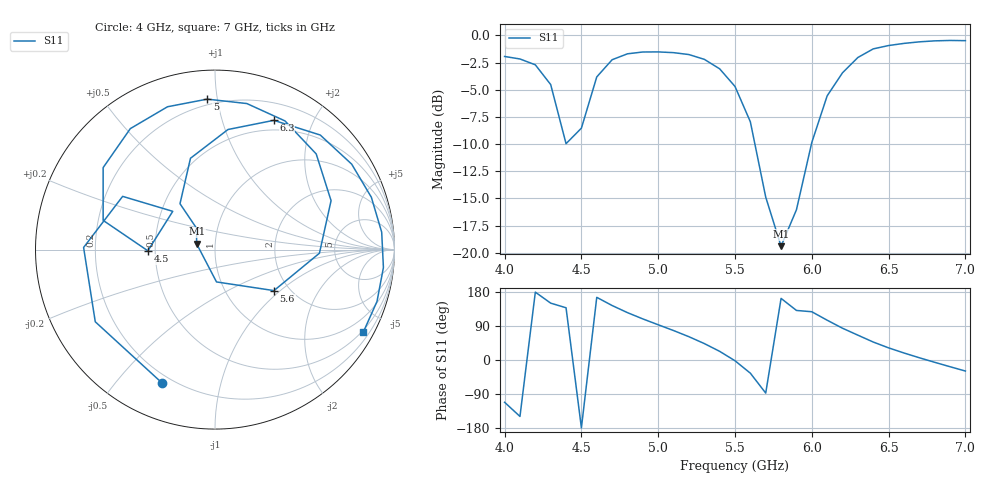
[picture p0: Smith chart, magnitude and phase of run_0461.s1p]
! Touchstone file exported from HFSS 2024.2.0
!  File:  C:/Users/wsak9/Desktop/Sim Fast/Widenad Patch/WP_AI_V1_sweep.aedt
!  Generated:  11:07:39 AM Oct 14, 2026
!  Design:  A1_model
!  Project:  WP_AI_V1_sweep
!  Setup:  Setup1
!  Solution:  Sweep
! Variables:
!  Air_gap = 1.81mm
!  Curve_Amp1 = 3.55
!  Curve_len1 = 1
!  Curve_pos = 12.28mm
!  Extra = 1.26mm
!  H_sub = 0.79mm
!  L_Patch = 20.56mm
!  L_Patch1 = 17.37mm
!  Sx = 2.42mm
!  Sy = 1.78mm
!  WS = 0.77mm
!  W_Patch = 16.16mm
!  W_Patch1 = 16.11mm
!Data is not renormalized
# GHz S MA
! Terminal data exported
! Port[1] = 1
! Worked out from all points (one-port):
!   31 points, 4 GHz to 7 GHz, reference per port
!   lowest |S11| = -19.4 dB at 5.8 GHz (marker M1), VSWR 1.24
!   |S11| at or under -10 dB: 5.63 GHz to 5.998 GHz (368.1 MHz wide, 6.33 % of centre)
!   S11 on the Smith chart (normalised r, x): 4 GHz: 0.16, -0.67; 4.5 GHz: 0.46, -0.01; 5 GHz: 0.16, +0.94; 5.6 GHz: 1.67, -0.91; 6.3 GHz: 0.39, +1.48; 7 GHz: 0.44, -3.81
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4  0.7998 -111.6
4.1  0.7789 -148.9
4.2  0.7322 179.1
4.3  0.5939 150.0
4.4  0.3175 137.8
4.5  0.3742 -179.0
4.6  0.6441 165.4
4.7  0.7727 143.8
4.8  0.8227 125.0
4.9  0.8386 108.4
5  0.8395 93.0
5.2  0.8161 61.5
5.3  0.7759 43.4
5.4  0.7018 22.9
5.5  0.5822 -2.0
5.6  0.4002 -34.8
5.7  0.1803 -87.3
5.8  0.1072 162.6
5.9  0.1576 130.8
6  0.3216 127.3
6.1  0.5269 105.0
6.2  0.673 83.8
6.3  0.7913 65.5
6.4  0.8668 47.4
6.5  0.8981 32.0
6.7  0.9338 5.9
6.8  0.9436 -6.1
7  0.9457 -29.1
